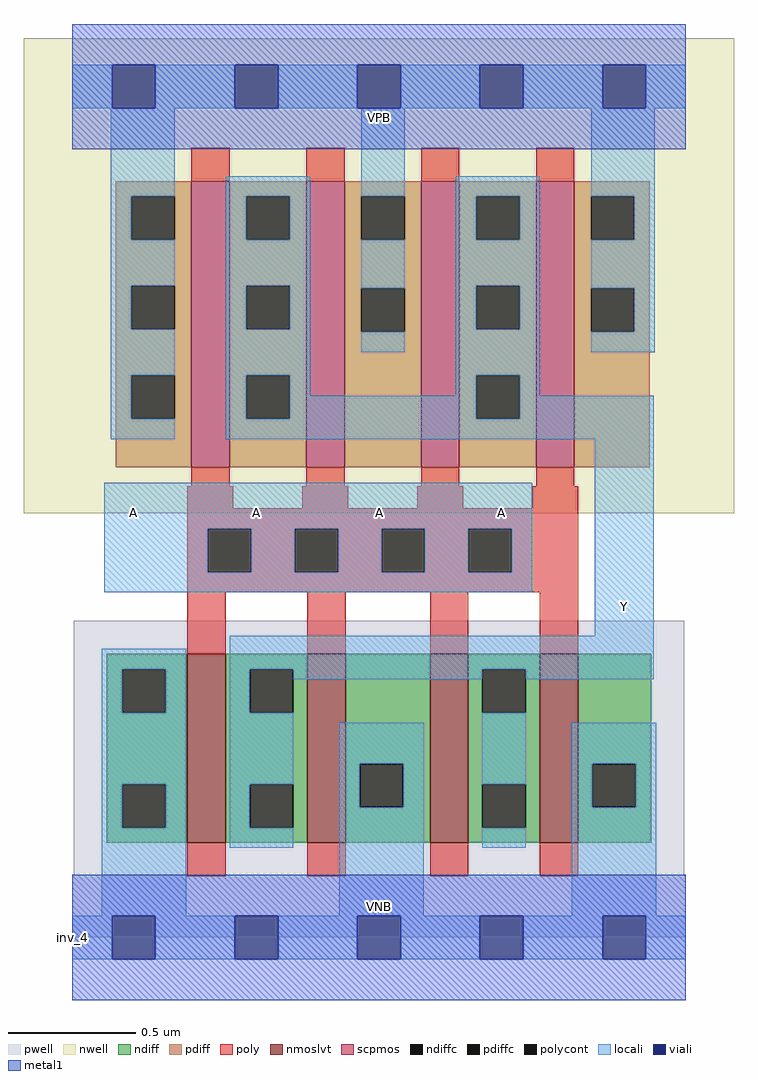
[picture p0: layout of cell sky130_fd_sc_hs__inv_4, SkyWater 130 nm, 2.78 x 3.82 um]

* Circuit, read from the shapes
.subckt sky130_fd_sc_hs__inv_4 A VGND VNB VPB VPWR Y
XM1 Y A VGND VNB sky130_fd_pr__nfet_01v8_lvt w=0.74 l=0.15 m=4
XM2 Y A VPWR VPB sky130_fd_pr__pfet_01v8 w=1.12 l=0.15 m=4
.ends

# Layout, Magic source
magic
tech sky130A
magscale 1 2
<< nwell >>
rect -38 332 518 704
<< pwell >>
rect 1 49 479 248
rect 0 0 480 49
<< scpmos >>
rect 93 368 123 592
rect 183 368 213 592
rect 273 368 303 592
rect 363 368 393 592
<< nmoslvt >>
rect 90 74 120 222
rect 184 74 214 222
rect 280 74 310 222
rect 366 74 396 222
<< ndiff >>
rect 27 210 90 222
rect 27 176 39 210
rect 73 176 90 210
rect 27 120 90 176
rect 27 86 39 120
rect 73 86 90 120
rect 27 74 90 86
rect 120 210 184 222
rect 120 176 139 210
rect 173 176 184 210
rect 120 120 184 176
rect 120 86 139 120
rect 173 86 184 120
rect 120 74 184 86
rect 214 136 280 222
rect 214 102 225 136
rect 259 102 280 136
rect 214 74 280 102
rect 310 210 366 222
rect 310 176 321 210
rect 355 176 366 210
rect 310 120 366 176
rect 310 86 321 120
rect 355 86 366 120
rect 310 74 366 86
rect 396 136 453 222
rect 396 102 407 136
rect 441 102 453 136
rect 396 74 453 102
<< pdiff >>
rect 34 580 93 592
rect 34 546 46 580
rect 80 546 93 580
rect 34 510 93 546
rect 34 476 46 510
rect 80 476 93 510
rect 34 440 93 476
rect 34 406 46 440
rect 80 406 93 440
rect 34 368 93 406
rect 123 580 183 592
rect 123 546 136 580
rect 170 546 183 580
rect 123 510 183 546
rect 123 476 136 510
rect 170 476 183 510
rect 123 440 183 476
rect 123 406 136 440
rect 170 406 183 440
rect 123 368 183 406
rect 213 580 273 592
rect 213 546 226 580
rect 260 546 273 580
rect 213 508 273 546
rect 213 474 226 508
rect 260 474 273 508
rect 213 368 273 474
rect 303 580 363 592
rect 303 546 316 580
rect 350 546 363 580
rect 303 510 363 546
rect 303 476 316 510
rect 350 476 363 510
rect 303 440 363 476
rect 303 406 316 440
rect 350 406 363 440
rect 303 368 363 406
rect 393 580 452 592
rect 393 546 406 580
rect 440 546 452 580
rect 393 508 452 546
rect 393 474 406 508
rect 440 474 452 508
rect 393 368 452 474
<< ndiffc >>
rect 39 176 73 210
rect 39 86 73 120
rect 139 176 173 210
rect 139 86 173 120
rect 225 102 259 136
rect 321 176 355 210
rect 321 86 355 120
rect 407 102 441 136
<< pdiffc >>
rect 46 546 80 580
rect 46 476 80 510
rect 46 406 80 440
rect 136 546 170 580
rect 136 476 170 510
rect 136 406 170 440
rect 226 546 260 580
rect 226 474 260 508
rect 316 546 350 580
rect 316 476 350 510
rect 316 406 350 440
rect 406 546 440 580
rect 406 474 440 508
<< poly >>
rect 93 592 123 618
rect 183 592 213 618
rect 273 592 303 618
rect 363 592 393 618
rect 93 353 123 368
rect 183 353 213 368
rect 273 353 303 368
rect 363 353 393 368
rect 90 336 126 353
rect 180 336 216 353
rect 270 336 306 353
rect 360 336 396 353
rect 90 320 396 336
rect 90 286 106 320
rect 140 286 174 320
rect 208 286 242 320
rect 276 286 310 320
rect 344 286 396 320
rect 90 270 396 286
rect 90 222 120 270
rect 184 222 214 270
rect 280 222 310 270
rect 366 222 396 270
rect 90 48 120 74
rect 184 48 214 74
rect 280 48 310 74
rect 366 48 396 74
<< polycont >>
rect 106 286 140 320
rect 174 286 208 320
rect 242 286 276 320
rect 310 286 344 320
<< locali >>
rect 0 649 31 683
rect 65 649 127 683
rect 161 649 223 683
rect 257 649 319 683
rect 353 649 415 683
rect 449 649 480 683
rect 30 580 80 649
rect 30 546 46 580
rect 30 510 80 546
rect 30 476 46 510
rect 30 440 80 476
rect 30 406 46 440
rect 30 390 80 406
rect 120 580 186 596
rect 120 546 136 580
rect 170 546 186 580
rect 120 510 186 546
rect 120 476 136 510
rect 170 476 186 510
rect 120 440 186 476
rect 226 580 260 649
rect 226 508 260 546
rect 226 458 260 474
rect 300 580 366 596
rect 300 546 316 580
rect 350 546 366 580
rect 300 510 366 546
rect 300 476 316 510
rect 350 476 366 510
rect 120 406 136 440
rect 170 424 186 440
rect 300 440 366 476
rect 406 580 456 649
rect 440 546 456 580
rect 406 508 456 546
rect 440 474 456 508
rect 406 458 456 474
rect 300 424 316 440
rect 170 406 316 424
rect 350 424 366 440
rect 350 406 455 424
rect 120 390 455 406
rect 25 320 360 356
rect 25 286 106 320
rect 140 286 174 320
rect 208 286 242 320
rect 276 286 310 320
rect 344 286 360 320
rect 25 270 360 286
rect 409 236 455 390
rect 23 210 89 226
rect 23 176 39 210
rect 73 176 89 210
rect 23 120 89 176
rect 23 86 39 120
rect 73 86 89 120
rect 23 17 89 86
rect 123 210 455 236
rect 123 176 139 210
rect 173 202 321 210
rect 123 120 173 176
rect 355 202 455 210
rect 123 86 139 120
rect 123 70 173 86
rect 209 136 275 168
rect 209 102 225 136
rect 259 102 275 136
rect 209 17 275 102
rect 321 120 355 176
rect 321 70 355 86
rect 391 136 457 168
rect 391 102 407 136
rect 441 102 457 136
rect 391 17 457 102
rect 0 -17 31 17
rect 65 -17 127 17
rect 161 -17 223 17
rect 257 -17 319 17
rect 353 -17 415 17
rect 449 -17 480 17
<< viali >>
rect 31 649 65 683
rect 127 649 161 683
rect 223 649 257 683
rect 319 649 353 683
rect 415 649 449 683
rect 31 -17 65 17
rect 127 -17 161 17
rect 223 -17 257 17
rect 319 -17 353 17
rect 415 -17 449 17
<< metal1 >>
rect 0 683 480 715
rect 0 649 31 683
rect 65 649 127 683
rect 161 649 223 683
rect 257 649 319 683
rect 353 649 415 683
rect 449 649 480 683
rect 0 617 480 649
rect 0 17 480 49
rect 0 -17 31 17
rect 65 -17 127 17
rect 161 -17 223 17
rect 257 -17 319 17
rect 353 -17 415 17
rect 449 -17 480 17
rect 0 -49 480 -17
<< labels >>
rlabel comment s 0 0 0 0 4 inv_4
flabel pwell s 0 0 480 49 0 FreeSans 200 0 0 0 VNB
port 3 nsew ground bidirectional
flabel nwell s 0 617 480 666 0 FreeSans 200 0 0 0 VPB
port 4 nsew power bidirectional
flabel metal1 s 0 617 480 666 0 FreeSans 340 0 0 0 VPWR
port 5 nsew power bidirectional
flabel metal1 s 0 0 480 49 0 FreeSans 340 0 0 0 VGND
port 2 nsew ground bidirectional
flabel locali s 415 242 449 276 0 FreeSans 340 0 0 0 Y
port 6 nsew signal output
flabel locali s 31 316 65 350 0 FreeSans 340 0 0 0 A
port 1 nsew signal input
flabel locali s 127 316 161 350 0 FreeSans 340 0 0 0 A
port 1 nsew signal input
flabel locali s 223 316 257 350 0 FreeSans 340 0 0 0 A
port 1 nsew signal input
flabel locali s 319 316 353 350 0 FreeSans 340 0 0 0 A
port 1 nsew signal input
<< properties >>
string LEFsite unit
string LEFclass CORE
string FIXED_BBOX 0 0 480 666
string GDS_FILE $PDKPATH/libs.ref/sky130_fd_sc_hs/gds/sky130_fd_sc_hs.gds
string LEFsymmetry X Y
string GDS_END 2618490
string GDS_START 2613336
<< end >>
